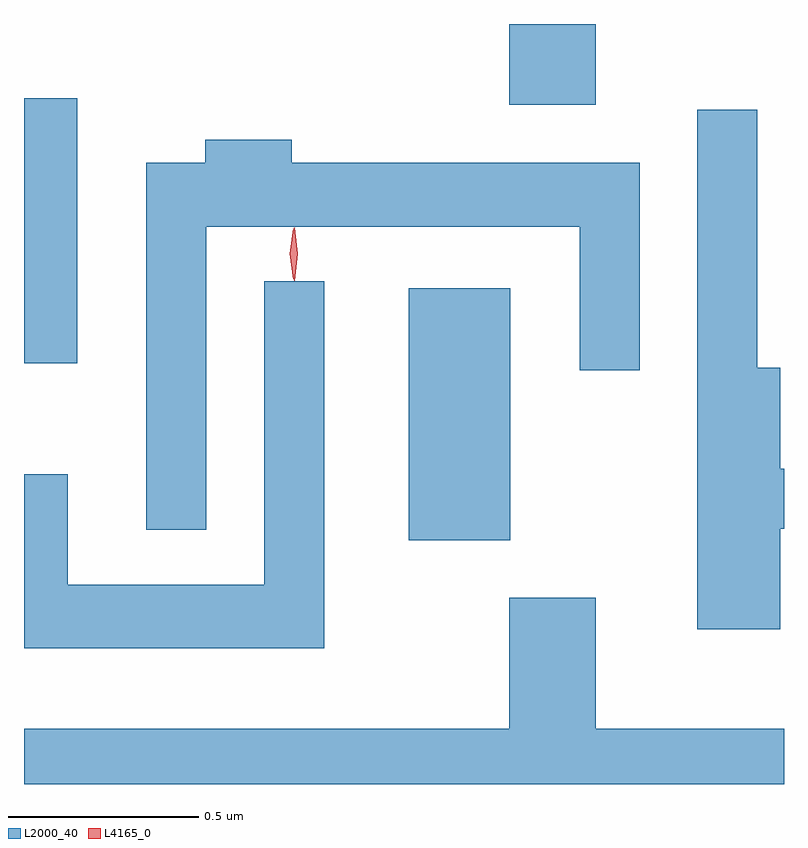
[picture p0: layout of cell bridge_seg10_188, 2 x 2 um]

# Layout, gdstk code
import gdstk
lib = gdstk.Library(unit=1e-6, precision=1e-09)
def R(c, l, rs):  # rectangles x0, y0, x1, y1
    for r in rs: c.add(gdstk.rectangle(r[:2], r[2:], *l))
def P(c, l, *ps):  # polygons
    for p in ps: c.add(gdstk.Polygon(p, *l))
L2000_40 = (2000, 40)
L4165_0 = (4165, 0)

bridge_seg10_188 = lib.new_cell('bridge_seg10_188')
R(bridge_seg10_188, L2000_40, [(1687.856,2088.041,1688.124,2088.704), (1686.844,2088.506,1686.984,2089.204), (1688.121,2089.186,1688.349,2089.399)])
P(bridge_seg10_188, L2000_40, [(1688.834,2088.071),(1688.844,2088.071),(1688.844,2088.229),(1688.834,2088.229),(1688.834,2088.494),(1688.774,2088.494),(1688.774,2089.173),(1688.616,2089.173),(1688.616,2087.806),(1688.834,2087.806)],
  [(1687.324,2088.866),(1688.306,2088.866),(1688.306,2088.488),(1688.464,2088.488),(1688.464,2089.034),(1687.549,2089.034),(1687.549,2089.094),(1687.321,2089.094),(1687.321,2089.034),(1687.166,2089.034),(1687.166,2088.068),(1687.324,2088.068)],
  [(1687.634,2088.722),(1687.476,2088.722),(1687.476,2087.924),(1686.959,2087.924),(1686.959,2088.214),(1686.844,2088.214),(1686.844,2087.756),(1687.634,2087.756)],
  [(1688.844,2087.544),(1688.349,2087.544),(1688.349,2087.889),(1688.121,2087.889),(1688.121,2087.544),(1686.844,2087.544),(1686.844,2087.399),(1688.844,2087.399)])
P(bridge_seg10_188, L4165_0, [(1687.555,2088.724),(1687.555,2088.724),(1687.545,2088.794),(1687.555,2088.863),(1687.555,2088.863),(1687.556,2088.863),(1687.565,2088.794),(1687.556,2088.724)],
  [(1687.552,2088.727),(1687.543,2088.794),(1687.552,2088.86),(1687.553,2088.861),(1687.553,2088.86),(1687.563,2088.794),(1687.553,2088.727),(1687.553,2088.727)])

lib.write_gds('bridge_seg10_188.gds')
